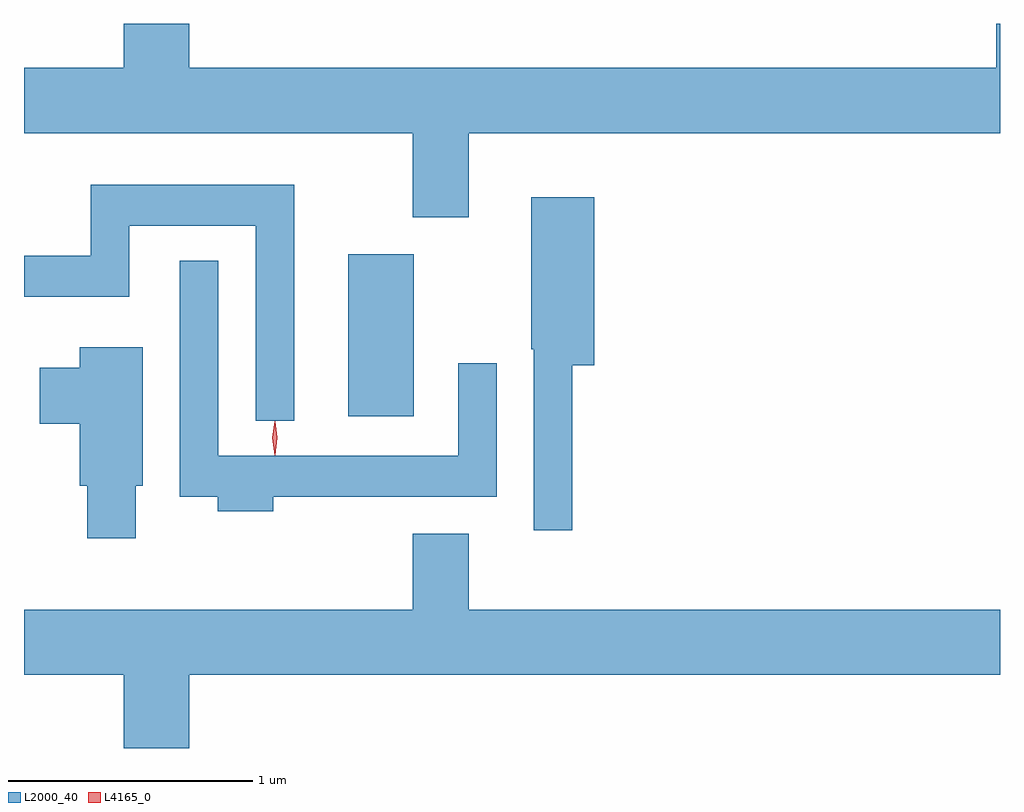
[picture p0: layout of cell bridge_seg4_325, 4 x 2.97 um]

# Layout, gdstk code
import gdstk
lib = gdstk.Library(unit=1e-6, precision=1e-09)
def R(c, l, rs):  # rectangles x0, y0, x1, y1
    for r in rs: c.add(gdstk.rectangle(r[:2], r[2:], *l))
def P(c, l, *ps):  # polygons
    for p in ps: c.add(gdstk.Polygon(p, *l))
L2000_40 = (2000, 40)
L4165_0 = (4165, 0)

bridge_seg4_325 = lib.new_cell('bridge_seg4_325')
R(bridge_seg4_325, L2000_40, [(675.536,1269.156,675.804,1269.819)])
P(bridge_seg4_325, L2000_40, [(676.029,1270.316),(678.207,1270.316),(678.207,1270.764),(678.191,1270.764),(678.191,1270.584),(674.884,1270.584),(674.884,1270.764),(674.616,1270.764),(674.616,1270.584),(674.207,1270.584),(674.207,1270.316),(675.801,1270.316),(675.801,1269.971),(676.029,1269.971)],
  [(675.314,1270.104),(674.481,1270.104),(674.481,1269.814),(674.207,1269.814),(674.207,1269.646),(674.639,1269.646),(674.639,1269.936),(675.156,1269.936),(675.156,1269.138),(675.314,1269.138)],
  [(676.454,1269.366),(676.544,1269.366),(676.544,1270.054),(676.286,1270.054),(676.286,1269.43),(676.296,1269.43),(676.296,1268.688),(676.454,1268.688)],
  [(675.229,1268.826),(676.144,1268.826),(676.144,1269.373),(675.986,1269.373),(675.986,1268.994),(675.004,1268.994),(675.004,1269.793),(674.846,1269.793),(674.846,1268.826),(675.001,1268.826),(675.001,1268.766),(675.229,1268.766)],
  [(674.664,1268.871),(674.694,1268.871),(674.694,1269.439),(674.436,1269.439),(674.436,1269.354),(674.271,1269.354),(674.271,1269.126),(674.436,1269.126),(674.436,1268.871),(674.466,1268.871),(674.466,1268.656),(674.664,1268.656)],
  [(674.884,1268.096),(678.207,1268.096),(678.207,1268.364),(676.029,1268.364),(676.029,1268.674),(675.801,1268.674),(675.801,1268.364),(674.207,1268.364),(674.207,1268.096),(674.616,1268.096),(674.616,1267.796),(674.884,1267.796)])
P(bridge_seg4_325, L4165_0, [(675.235,1268.997),(675.235,1268.997),(675.225,1269.067),(675.235,1269.136),(675.235,1269.136),(675.236,1269.136),(675.245,1269.067),(675.236,1268.997)],
  [(675.235,1269),(675.226,1269.066),(675.235,1269.132),(675.235,1269.133),(675.236,1269.132),(675.245,1269.066),(675.236,1269),(675.236,1269)])

lib.write_gds('bridge_seg4_325.gds')
